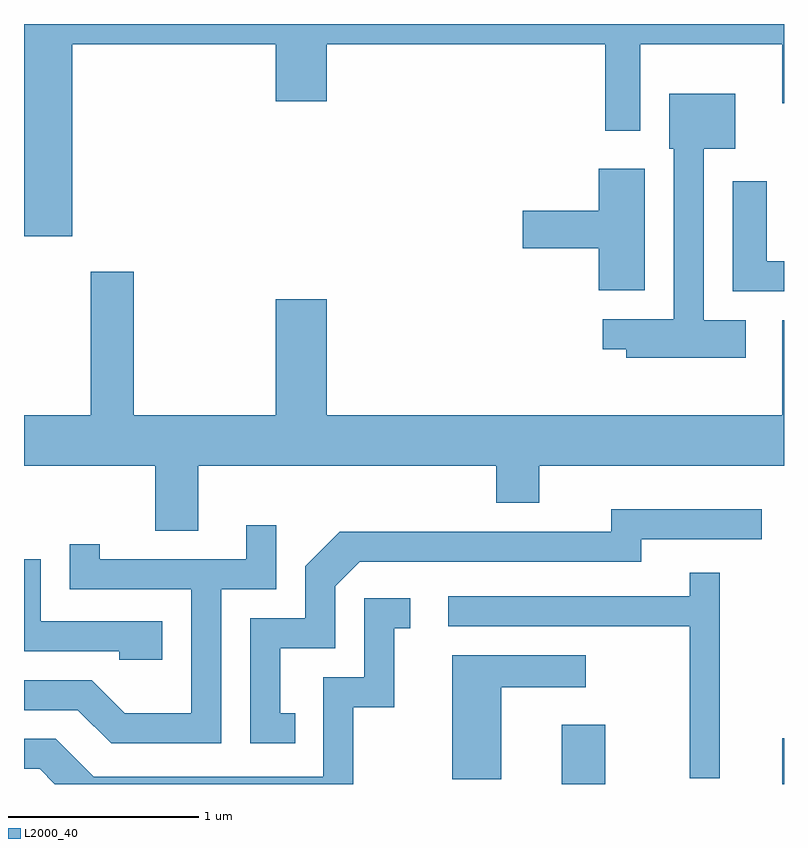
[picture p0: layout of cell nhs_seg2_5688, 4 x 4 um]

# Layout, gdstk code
import gdstk
lib = gdstk.Library(unit=1e-6, precision=1e-09)
def R(c, l, rs):  # rectangles x0, y0, x1, y1
    for r in rs: c.add(gdstk.rectangle(r[:2], r[2:], *l))
def P(c, l, *ps):  # polygons
    for p in ps: c.add(gdstk.Polygon(p, *l))
L2000_40 = (2000, 40)

nhs_seg2_5688 = lib.new_cell('nhs_seg2_5688')
R(nhs_seg2_5688, L2000_40, [(356.441,997.802,356.669,998.114), (357.601,997.802,357.611,998.044)])
P(nhs_seg2_5688, L2000_40, [(353.864,1001.696),(354.936,1001.696),(354.936,1001.396),(355.204,1001.396),(355.204,1001.696),(356.671,1001.696),(356.671,1001.241),(356.854,1001.241),(356.854,1001.696),(357.601,1001.696),(357.601,1001.386),(357.611,1001.386),(357.611,1001.802),(353.611,1001.802),(353.611,1000.686),(353.864,1000.686)],
  [(357.409,1000.244),(357.189,1000.244),(357.189,1001.146),(357.354,1001.146),(357.354,1001.434),(357.006,1001.434),(357.006,1001.146),(357.031,1001.146),(357.031,1000.249),(356.658,1000.249),(356.658,1000.091),(356.781,1000.091),(356.781,1000.046),(357.409,1000.046)],
  [(356.879,1001.039),(356.636,1001.039),(356.636,1000.819),(356.236,1000.819),(356.236,1000.621),(356.636,1000.621),(356.636,1000.401),(356.879,1000.401)],
  [(357.611,1000.554),(357.519,1000.554),(357.519,1000.974),(357.341,1000.974),(357.341,1000.396),(357.611,1000.396)],
  [(354.189,1000.499),(353.961,1000.499),(353.961,999.744),(353.611,999.744),(353.611,999.476),(354.301,999.476),(354.301,999.136),(354.529,999.136),(354.529,999.476),(356.096,999.476),(356.096,999.281),(356.324,999.281),(356.324,999.476),(357.611,999.476),(357.611,1000.244),(357.601,1000.244),(357.601,999.744),(355.204,999.744),(355.204,1000.354),(354.936,1000.354),(354.936,999.744),(354.189,999.744)],
  [(355.038,998.174),(354.959,998.174),(354.959,998.516),(355.249,998.516),(355.249,998.844),(355.377,998.971),(356.859,998.971),(356.859,999.091),(357.493,999.091),(357.493,999.249),(356.701,999.249),(356.701,999.129),(355.274,999.129),(355.091,998.947),(355.091,998.674),(354.801,998.674),(354.801,998.016),(355.038,998.016)],
  [(354.649,998.826),(354.939,998.826),(354.939,999.163),(354.781,999.163),(354.781,998.984),(354.009,998.984),(354.009,999.063),(353.851,999.063),(353.851,998.826),(354.491,998.826),(354.491,998.174),(354.142,998.174),(353.967,998.349),(353.611,998.349),(353.611,998.191),(353.894,998.191),(354.069,998.016),(354.649,998.016)],
  [(354.339,998.659),(353.699,998.659),(353.699,998.984),(353.611,998.984),(353.611,998.501),(354.111,998.501),(354.111,998.456),(354.339,998.456)],
  [(357.274,998.913),(357.116,998.913),(357.116,998.789),(355.843,998.789),(355.843,998.631),(357.116,998.631),(357.116,997.833),(357.274,997.833)],
  [(355.344,998.206),(355.559,998.206),(355.559,998.621),(355.643,998.621),(355.643,998.779),(355.401,998.779),(355.401,998.364),(355.186,998.364),(355.186,997.839),(353.977,997.839),(353.777,998.039),(353.611,998.039),(353.611,997.881),(353.694,997.881),(353.773,997.802),(355.344,997.802)],
  [(356.124,998.311),(356.568,998.311),(356.568,998.479),(355.866,998.479),(355.866,997.826),(356.124,997.826)])

lib.write_gds('nhs_seg2_5688.gds')
